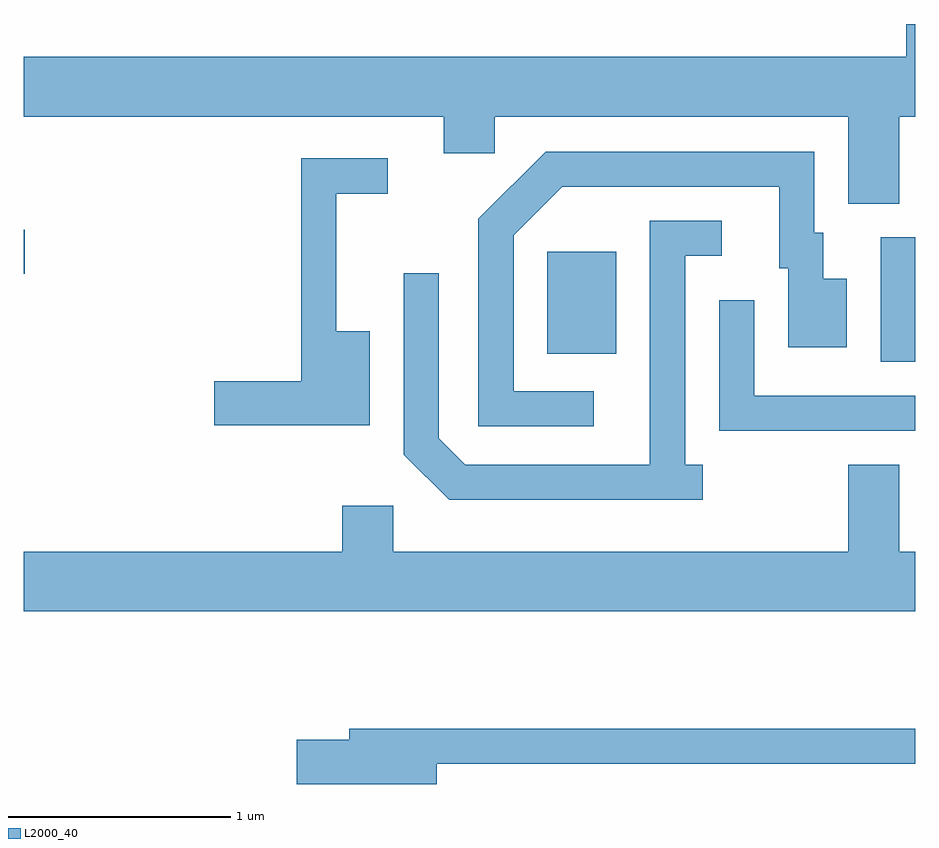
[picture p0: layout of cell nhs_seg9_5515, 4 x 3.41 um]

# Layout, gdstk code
import gdstk
lib = gdstk.Library(unit=1e-6, precision=1e-09)
def R(c, l, rs):  # rectangles x0, y0, x1, y1
    for r in rs: c.add(gdstk.rectangle(r[:2], r[2:], *l))
def P(c, l, *ps):  # polygons
    for p in ps: c.add(gdstk.Polygon(p, *l))
L2000_40 = (2000, 40)

nhs_seg9_5515 = lib.new_cell('nhs_seg9_5515')
R(nhs_seg9_5515, L2000_40, [(351.456,2012.916,351.611,2013.474), (349.961,2012.951,350.269,2013.409), (347.611,2013.311,347.614,2013.509)])
P(nhs_seg9_5515, L2000_40, [(351.539,2014.016),(351.611,2014.016),(351.611,2014.432),(351.571,2014.432),(351.571,2014.284),(347.611,2014.284),(347.611,2014.016),(349.496,2014.016),(349.496,2013.851),(349.724,2013.851),(349.724,2014.016),(351.311,2014.016),(351.311,2013.626),(351.539,2013.626)],
  [(350.168,2012.784),(349.809,2012.784),(349.809,2013.484),(350.027,2013.701),(351.001,2013.701),(351.001,2013.336),(351.041,2013.336),(351.041,2012.981),(351.304,2012.981),(351.304,2013.289),(351.199,2013.289),(351.199,2013.494),(351.159,2013.494),(351.159,2013.859),(349.954,2013.859),(349.651,2013.557),(349.651,2012.626),(350.168,2012.626)],
  [(349.164,2013.054),(349.014,2013.054),(349.014,2013.671),(349.243,2013.671),(349.243,2013.829),(348.856,2013.829),(348.856,2012.829),(348.466,2012.829),(348.466,2012.631),(349.164,2012.631)],
  [(350.658,2012.454),(350.579,2012.454),(350.579,2013.391),(350.743,2013.391),(350.743,2013.549),(350.421,2013.549),(350.421,2012.454),(349.592,2012.454),(349.474,2012.572),(349.474,2013.313),(349.316,2013.313),(349.316,2012.499),(349.519,2012.296),(350.658,2012.296)],
  [(351.611,2012.764),(350.889,2012.764),(350.889,2013.193),(350.731,2013.193),(350.731,2012.606),(351.611,2012.606)],
  [(351.611,2012.064),(351.539,2012.064),(351.539,2012.454),(351.311,2012.454),(351.311,2012.064),(349.269,2012.064),(349.269,2012.269),(349.041,2012.269),(349.041,2012.064),(347.611,2012.064),(347.611,2011.796),(351.611,2011.796)],
  [(349.464,2011.111),(351.611,2011.111),(351.611,2011.269),(349.071,2011.269),(349.071,2011.219),(348.836,2011.219),(348.836,2011.021),(349.464,2011.021)])

lib.write_gds('nhs_seg9_5515.gds')
